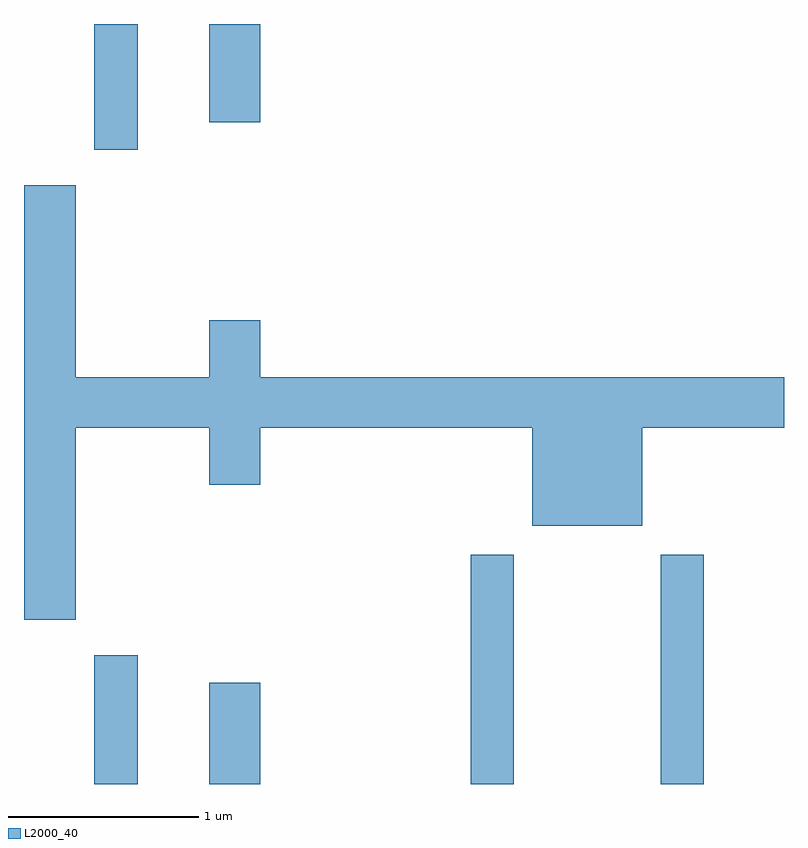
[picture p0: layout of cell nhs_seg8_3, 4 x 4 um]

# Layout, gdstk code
import gdstk
lib = gdstk.Library(unit=1e-6, precision=1e-09)
def R(c, l, rs):  # rectangles x0, y0, x1, y1
    for r in rs: c.add(gdstk.rectangle(r[:2], r[2:], *l))
def P(c, l, *ps):  # polygons
    for p in ps: c.add(gdstk.Polygon(p, *l))
L2000_40 = (2000, 40)

nhs_seg8_3 = lib.new_cell('nhs_seg8_3')
R(nhs_seg8_3, L2000_40, [(185.981,1812.342,186.209,1813.019), (186.586,1812.342,186.854,1812.874), (187.961,1812.342,188.189,1813.549), (188.961,1812.342,189.189,1813.549), (185.981,1815.681,186.209,1816.342), (186.586,1815.826,186.854,1816.342)])
P(nhs_seg8_3, L2000_40, [(185.884,1814.216),(186.586,1814.216),(186.586,1813.916),(186.854,1813.916),(186.854,1814.216),(188.286,1814.216),(188.286,1813.701),(188.864,1813.701),(188.864,1814.216),(189.611,1814.216),(189.611,1814.484),(186.854,1814.484),(186.854,1814.784),(186.586,1814.784),(186.586,1814.484),(185.884,1814.484),(185.884,1815.494),(185.611,1815.494),(185.611,1813.206),(185.884,1813.206)])

lib.write_gds('nhs_seg8_3.gds')
